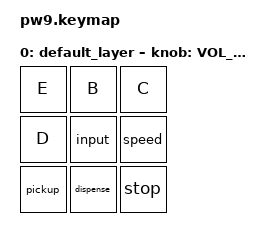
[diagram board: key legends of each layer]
#include <behaviors.dtsi>
#include <dt-bindings/zmk/keys.h>

/ {
    macros {
        init: init {
            compatible = "zmk,behavior-macro";
            label = "init";
            #binding-cells = <0>;
            bindings = <&kp I &kp N &kp I &kp T &kp I &kp A &kp L &kp I &kp S &kp E &kp ENTER>;
        };
        input: input {
            compatible = "zmk,behavior-macro";
            label = "input";
            #binding-cells = <0>;
            bindings = <&kp I &kp N &kp P &kp U &kp T &kp ENTER>;
        };
        speed: speed {
            compatible = "zmk,behavior-macro";
            label = "speed";
            #binding-cells = <0>;
            bindings = <&kp S &kp P &kp E &kp E &kp D &kp ENTER>;
        };
        dispense: dispense {
            compatible = "zmk,behavior-macro";
            label = "dispense";
            #binding-cells = <0>;
            bindings = <&kp D &kp I &kp S &kp P &kp E &kp N &kp S &kp E &kp ENTER>;
        };
        stop: stop {
            compatible = "zmk,behavior-macro";
            label = "stop";
            #binding-cells = <0>;
            bindings = <&kp S &kp T &kp O &kp P &kp ENTER>;
        };
        pickup: pickup {
            compatible = "zmk,behavior-macro";
            label = "pickup";
            #binding-cells = <0>;
            bindings = <&kp P &kp I &kp C &kp K &kp U &kp P &kp ENTER>;
        };
        two: two {
            compatible = "zmk,behavior-macro";
            label = "two";
            #binding-cells = <0>;
            bindings = <&kp NUMBER_2 &kp ENTER>;
        };
        num_1: num_1 {
            compatible = "zmk,behavior-macro";
            label = "num_1";
            #binding-cells = <0>;
            bindings = <&kp N1 &kp ENTER>;
        };
        sample_pickup: sample_pickup {
            compatible = "zmk,behavior-macro";
            label = "new_macroq";
            #binding-cells = <0>;
            bindings = <&kp S &kp A &kp M &kp P &kp L &kp E &kp UNDERSCORE &kp P &kp I &kp C &kp K &kp U &kp P &kp ENTER>;
        };
        prime_chip: prime_chip {
            compatible = "zmk,behavior-macro";
            label = "new_macrow";
            #binding-cells = <0>;
            bindings = <&kp P &kp R &kp I &kp M &kp E &kp UNDERSCORE &kp C &kp H &kp I &kp P &kp ENTER>;
        };
        measure_sample: measure_sample {
            compatible = "zmk,behavior-macro";
            label = "new_macroe";
            #binding-cells = <0>;
            bindings = <&kp M &kp E &kp A &kp S &kp U &kp R &kp E &kp UNDERSCORE &kp S &kp A &kp M &kp P &kp L &kp E &kp ENTER>;
        };
        cleanIL: cleanIL {
            compatible = "zmk,behavior-macro";
            label = "new_macror";
            #binding-cells = <0>;
            bindings = <&kp C &kp L &kp E &kp A &kp N &kp I &kp L &kp ENTER>;
        };
    };

    keymap {
        compatible = "zmk,keymap";

        default_layer {
            bindings = <
  &kp E      &kp B   &kp C
  &kp D     &input  &speed
&pickup  &dispense   &stop
            >;

            sensor-bindings = <&inc_dec_kp C_VOL_UP C_VOL_DN &inc_dec_kp PG_UP PG_DN>;
        };
    };
};
